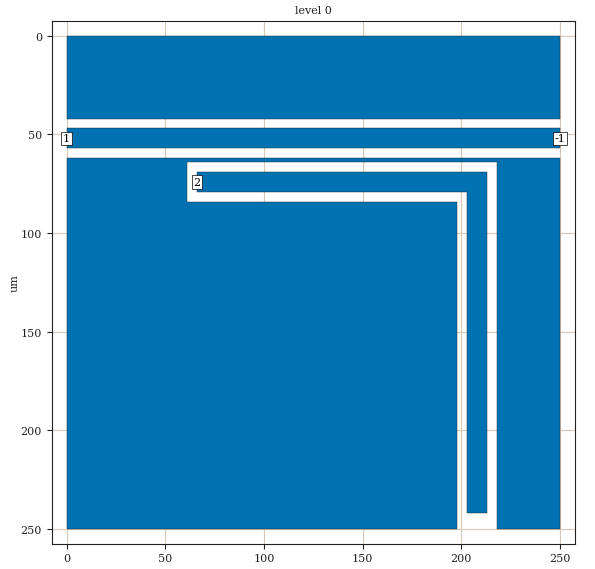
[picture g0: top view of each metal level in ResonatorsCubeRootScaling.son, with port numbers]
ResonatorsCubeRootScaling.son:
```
FTYP SONPROJ 15 ! Sonnet Project File
VER 16.52
HEADER
LIC calt2.2.43068 b4ae2bd1247e DESKTOP-SL82IK9 Michael
DAT 04/03/2016 19:35:28
BUILT_BY_CREATED xgeom 16.52 03/26/2016 21:21:12
BUILT_BY_SAVED xgeom 16.52
MDATE 04/03/2016 19:10:03
HDATE 04/03/2016 19:10:03
END HEADER
DIM
FREQ GHZ
IND NH
LNG UM
ANG DEG
CON /OH
CAP PF
RES OH
END DIM
FREQ
END FREQ
CONTROL
VARSWP
OPTIONS  -d 
SPEED 0
CACHE_ABS 1
TARG_ABS 300
Q_ACC N
END CONTROL
GEO
TMET "Lossless" 0 SUP 0 0 0 0
BMET "Lossless" 0 SUP 0 0 0 0
BOX 1 250 250 500 500 20 0
      1000 1 1 0 0 0 0 "Air"
      500 11.9 1 5e-006 0 0 0 "Silicon (intrinsic)"
VALVAR gnd NONE "width^(1/3)" ""
VALVAR gap2 LNG 5.000005376 "Dim. Param."
VALVAR gap NONE "width/2" "Dim. Param."
VALVAR width NONE 10 "Dim. Param."
LORGN 0 250 U 
POR1 STD
POLY 29 1
3
1 50 0 0 0 0 51.99999897 
POR1 STD
POLY 29 1
1
-1 50 0 0 0 249.99999 51.99999897 
POR1 AGND
POLY 39 1
1
2 50 0 0 0 66.00000033 74.15443469 NONE 
NUM 4
0 5 -1 N 28 1 1 100 100 0 0 0 Y
0 0
250 0
250 42
0 42
0 0
END
0 5 -1 N 29 1 1 100 100 0 0 0 Y
0 47
249.99999 47
249.99999 56.99999794
0 56.99999794
0 47
END
0 14 -1 N 37 1 1 100 100 0 0 0 Y
250 70
250 62
0 62
0 70
0 105
0 250
198 250
198 84.15443469
61.00000033 84.15443469
61.00000033 64.15443469
218 64.15443469
218 250
250 250
250 70
END
0 7 -1 N 39 1 1 100 100 0 0 0 Y
213 69.15443469
66.00000033 69.15443469
66.00000033 79.15443469
203 79.15443469
203 242
213 242
213 69.15443469
END
END GEO
OPT
MAX 100
VARS
VAR width N UNDEF UNDEF UNDEF
END
END OPT
VARSWP
ABS_ENTRY 1.0 10.0 
VAR width Y 5.0 45.0 5.0
END
END VARSWP
QSG
IMPORT NO
EXTRA_METAL NO
UNITS YES
ALIGN NO
REF NO
VIEW_RES YES
METALS NO
USED NO
END QSG
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```
